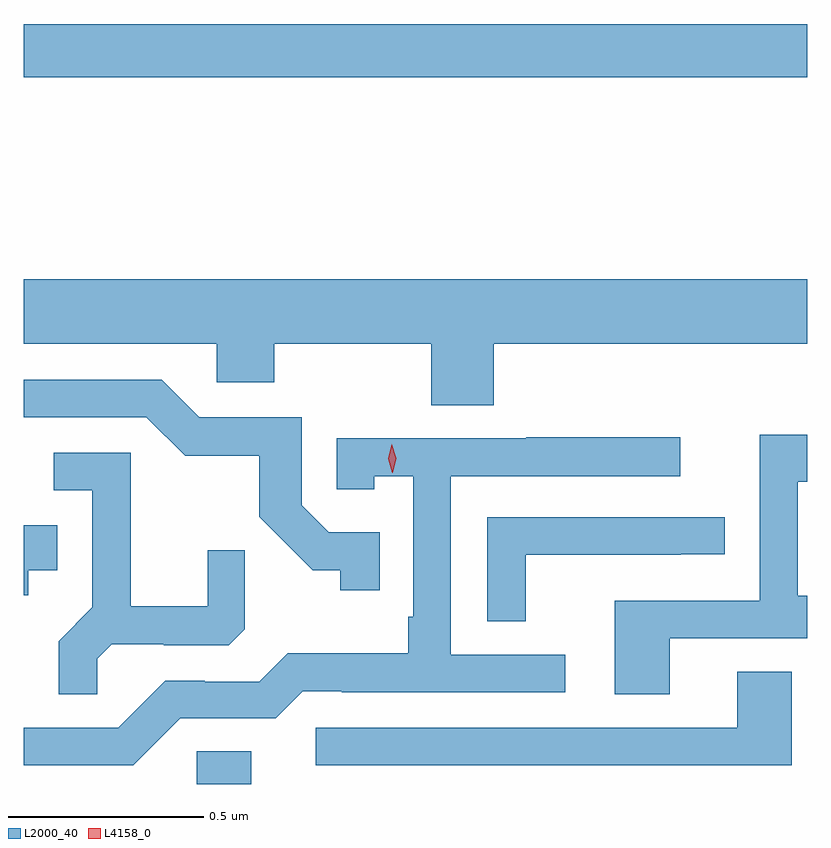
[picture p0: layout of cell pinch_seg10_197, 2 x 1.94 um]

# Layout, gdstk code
import gdstk
lib = gdstk.Library(unit=1e-6, precision=1e-09)
def R(c, l, rs):  # rectangles x0, y0, x1, y1
    for r in rs: c.add(gdstk.rectangle(r[:2], r[2:], *l))
def P(c, l, *ps):  # polygons
    for p in ps: c.add(gdstk.Polygon(p, *l))
L2000_40 = (2000, 40)
L4158_0 = (4158, 0)

pinch_seg10_197 = lib.new_cell('pinch_seg10_197')
R(pinch_seg10_197, L2000_40, [(744.264,1271.22,744.403,1271.303), (743.822,1273.024,745.822,1273.16)])
P(pinch_seg10_197, L2000_40, [(743.822,1272.344),(744.315,1272.344),(744.315,1272.246),(744.462,1272.246),(744.462,1272.344),(744.862,1272.344),(744.862,1272.187),(745.022,1272.187),(745.022,1272.344),(745.822,1272.344),(745.822,1272.508),(743.822,1272.508)],
  [(744.731,1271.862),(744.6,1271.862),(744.531,1271.931),(744.531,1272.156),(744.27,1272.156),(744.174,1272.252),(743.822,1272.252),(743.822,1272.156),(744.135,1272.156),(744.234,1272.058),(744.423,1272.058),(744.423,1271.902),(744.56,1271.765),(744.63,1271.765),(744.63,1271.715),(744.731,1271.715)],
  [(745.471,1271.592),(745.822,1271.592),(745.822,1271.701),(745.798,1271.701),(745.798,1271.992),(745.822,1271.992),(745.822,1272.112),(745.701,1272.112),(745.701,1271.688),(745.331,1271.688),(745.331,1271.449),(745.471,1271.449)],
  [(744.222,1271.388),(744.465,1271.388),(744.534,1271.457),(744.634,1271.457),(744.634,1271.454),(745.204,1271.454),(745.204,1271.55),(744.912,1271.55),(744.912,1272.006),(745.498,1272.006),(745.498,1272.105),(745.105,1272.105),(745.105,1272.102),(744.621,1272.102),(744.621,1271.973),(744.717,1271.973),(744.717,1272.005),(744.816,1272.005),(744.816,1271.647),(744.804,1271.647),(744.804,1271.554),(744.496,1271.554),(744.423,1271.481),(744.284,1271.481),(744.284,1271.484),(744.183,1271.484),(744.063,1271.364),(743.822,1271.364),(743.822,1271.268),(744.102,1271.268)],
  [(744.009,1271.54),(744.046,1271.577),(744.18,1271.577),(744.18,1271.574),(744.345,1271.574),(744.386,1271.615),(744.386,1271.817),(744.292,1271.817),(744.292,1271.674),(744.095,1271.674),(744.095,1272.066),(743.898,1272.066),(743.898,1271.97),(743.997,1271.97),(743.997,1271.671),(743.911,1271.585),(743.911,1271.449),(744.009,1271.449)],
  [(745.104,1271.805),(745.499,1271.805),(745.499,1271.806),(745.612,1271.806),(745.612,1271.901),(745.005,1271.901),(745.005,1271.635),(745.104,1271.635)],
  [(743.833,1271.765),(743.908,1271.765),(743.908,1271.881),(743.822,1271.881),(743.822,1271.702),(743.833,1271.702)],
  [(745.783,1271.507),(745.643,1271.507),(745.643,1271.364),(744.567,1271.364),(744.567,1271.268),(745.783,1271.268)])
P(pinch_seg10_197, L4158_0, [(744.763,1272.015),(744.763,1272.015),(744.753,1272.05),(744.762,1272.087),(744.762,1272.087),(744.762,1272.087),(744.773,1272.051),(744.764,1272.015)])

lib.write_gds('pinch_seg10_197.gds')
